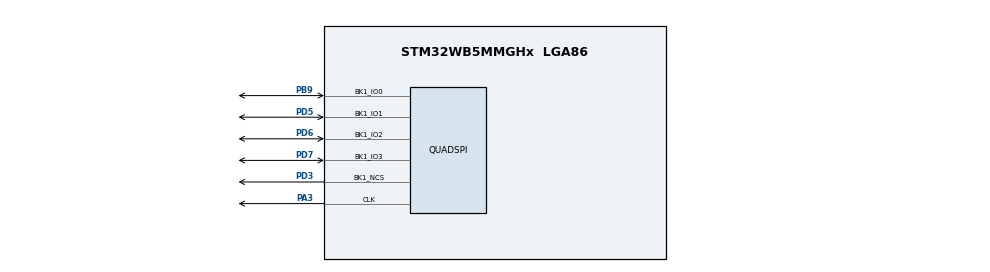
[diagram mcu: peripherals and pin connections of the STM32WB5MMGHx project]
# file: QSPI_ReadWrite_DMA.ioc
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Dma.QUADSPI.0.Direction=DMA_PERIPH_TO_MEMORY
Dma.QUADSPI.0.EventEnable=DISABLE
Dma.QUADSPI.0.Instance=DMA1_Channel1
Dma.QUADSPI.0.MemDataAlignment=DMA_MDATAALIGN_BYTE
Dma.QUADSPI.0.MemInc=DMA_MINC_ENABLE
Dma.QUADSPI.0.Mode=DMA_NORMAL
Dma.QUADSPI.0.PeriphDataAlignment=DMA_PDATAALIGN_BYTE
Dma.QUADSPI.0.PeriphInc=DMA_PINC_DISABLE
Dma.QUADSPI.0.Polarity=HAL_DMAMUX_REQ_GEN_RISING
Dma.QUADSPI.0.Priority=DMA_PRIORITY_LOW
Dma.QUADSPI.0.RequestNumber=1
Dma.QUADSPI.0.SignalID=NONE
Dma.QUADSPI.0.SyncEnable=DISABLE
Dma.QUADSPI.0.SyncPolarity=HAL_DMAMUX_SYNC_NO_EVENT
Dma.QUADSPI.0.SyncRequestNumber=1
Dma.QUADSPI.0.SyncSignalID=NONE
Dma.Request0=QUADSPI
Mcu.Family=STM32WB
Mcu.Name=STM32WB5MMGHx
Mcu.Package=LGA86
NVIC.DMA1_Channel1_IRQn=true\:0\:0\:false\:false\:true\:false\:true
NVIC.PriorityGroup=NVIC_PRIORITYGROUP_4
NVIC.QUADSPI_IRQn=true\:0\:0\:false\:false\:true\:true\:true
PA3.GPIO_Speed=GPIO_SPEED_FREQ_HIGH
PA3.Mode=Single Bank 1
PA3.Signal=QUADSPI_CLK
PB9.GPIO_Speed=GPIO_SPEED_FREQ_HIGH
PB9.Mode=Single Bank 1
PB9.Signal=QUADSPI_BK1_IO0
PD3.GPIO_Speed=GPIO_SPEED_FREQ_HIGH
PD3.Mode=Single Bank 1
PD3.Signal=QUADSPI_BK1_NCS
PD5.GPIO_Speed=GPIO_SPEED_FREQ_HIGH
PD5.Mode=Single Bank 1
PD5.Signal=QUADSPI_BK1_IO1
PD6.GPIO_Speed=GPIO_SPEED_FREQ_HIGH
PD6.Mode=Single Bank 1
PD6.Signal=QUADSPI_BK1_IO2
PD7.GPIO_Speed=GPIO_SPEED_FREQ_HIGH
PD7.Mode=Single Bank 1
PD7.Signal=QUADSPI_BK1_IO3
ProjectManager.HeapSize=0x200
ProjectManager.StackSize=0x400
ProjectManager.TargetToolchain=EWARM V8
QUADSPI.ClockPrescaler=2
QUADSPI.FifoThreshold=4
QUADSPI.FlashSize=23
RCC.AHB2CLKDivider=RCC_SYSCLK_DIV2
RCC.AHBFreq_Value=64000000
RCC.APB1Freq_Value=64000000
RCC.APB1TimFreq_Value=64000000
RCC.APB2Freq_Value=64000000
RCC.APB2TimFreq_Value=64000000
RCC.APB3Freq_Value=16000000
RCC.Cortex2_Div=SYSTICK_CLKSOURCE_HCLK_DIV8
RCC.CortexFreq_Value=64000000
RCC.HCLKFreq_Value=64000000
RCC.HSE_VALUE=32000000
RCC.HSI48_VALUE=48000000
RCC.HSI_VALUE=16000000
RCC.PLLN=32
RCC.SYSCLKFreq_VALUE=64000000
RCC.SYSCLKSource=RCC_SYSCLKSOURCE_PLLCLK
RCC.VCOOutputFreq_Value=128000000
board=custom

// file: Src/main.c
/* USER CODE BEGIN Header */
/**
  ******************************************************************************
  * @file    QSPI/QSPI_ReadWrite_DMA/Src/main.c
  * @author  MCD Application Team
  * @brief   This sample code shows how to erase part of the QSPI memory, write
  *          data in DMA mode, read data in DMA mode and compare the result in
  *          a forever loop.
  ******************************************************************************
  * @attention
  *
  * <h2><center>&copy; Copyright (c) 2020 STMicroelectronics.
  * All rights reserved.</center></h2>
  *
  * This software component is licensed by ST under BSD 3-Clause license,
  * the "License"; You may not use this file except in compliance with the
  * License. You may obtain a copy of the License at:
  *                        opensource.org/licenses/BSD-3-Clause
  *
  ******************************************************************************
  */
/* USER CODE END Header */
#include "main.h"

QSPI_HandleTypeDef hqspi;
DMA_HandleTypeDef hdma_quadspi;

/* USER CODE BEGIN PV */
aPwmLedGsData_TypeDef aPwmLedGsData;

__IO uint8_t CmdCplt, RxCplt, TxCplt, StatusMatch;

/* Buffer used for transmission */
uint8_t aTxBuffer[] = " ****QSPI communication based on DMA****  ****QSPI communication based on DMA****  ****QSPI communication based on DMA****  ****QSPI communication based on DMA****  ****QSPI communication based on DMA****  ****QSPI communication based on DMA**** ";

/* Buffer used for reception */
uint8_t aRxBuffer[BUFFERSIZE];
/* USER CODE END PV */

void SystemClock_Config(void);
static void MX_GPIO_Init(void);
static void MX_DMA_Init(void);
static void MX_QUADSPI_Init(void);
/* USER CODE BEGIN PFP */
static void QSPI_WriteEnable(QSPI_HandleTypeDef *hqspi);
static void QSPI_AutoPollingMemReady(QSPI_HandleTypeDef *hqspi);
/* USER CODE END PFP */

int main(void)
{
  /* USER CODE BEGIN 1 */
  QSPI_CommandTypeDef sCommand;
  uint32_t address = 0;
  uint16_t index;
  __IO uint8_t step = 0;

  /* STM32WBxx HAL library initialization:
       - Configure the Flash prefetch
       - Systick timer is configured by default as source of time base, but user
         can eventually implement his proper time base source (a general purpose
         timer for example or other time source), keeping in mind that Time base
         duration should be kept 1ms since PPP_TIMEOUT_VALUEs are defined and
         handled in milliseconds basis.
       - Set NVIC Group Priority to 4
       - Low Level Initialization
  */
  /* USER CODE END 1 */

  /* MCU Configuration--------------------------------------------------------*/

  /* Reset of all peripherals, Initializes the Flash interface and the Systick. */
  HAL_Init();

  /* Configure the system clock */
  SystemClock_Config();

  /* USER CODE BEGIN SysInit */
  /* Set default off value for each leds */
  aPwmLedGsData[PWM_LED_RED]   = PWM_LED_GSDATA_OFF;
  aPwmLedGsData[PWM_LED_GREEN] = PWM_LED_GSDATA_OFF;
  aPwmLedGsData[PWM_LED_BLUE]  = PWM_LED_GSDATA_OFF;
  BSP_PWM_LED_Init();
  /* USER CODE END SysInit */

  /* Initialize all configured peripherals */
  MX_GPIO_Init();
  MX_DMA_Init();
  MX_QUADSPI_Init();

  /* Infinite loop */
  /* USER CODE BEGIN WHILE */
  sCommand.InstructionMode   = QSPI_INSTRUCTION_1_LINE;
  sCommand.AddressSize       = QSPI_ADDRESS_24_BITS;
  sCommand.AlternateByteMode = QSPI_ALTERNATE_BYTES_NONE;
  sCommand.DdrMode           = QSPI_DDR_MODE_DISABLE;
  sCommand.SIOOMode          = QSPI_SIOO_INST_EVERY_CMD;

  while (1)
  {
    switch(step)
    {
      case 0:
        CmdCplt = 0;

        /* Initialize Reception buffer --------------------------------------- */
        for (index = 0; index < BUFFERSIZE; index++)
        {
          aRxBuffer[index] = 0;
        }

        /* Enable write operations ------------------------------------------- */
        QSPI_WriteEnable(&hqspi);

        /* Erasing Sequence -------------------------------------------------- */
        sCommand.Instruction = SECTOR_ERASE_CMD;
        sCommand.AddressMode = QSPI_ADDRESS_1_LINE;
        sCommand.Address     = address;
        sCommand.DataMode    = QSPI_DATA_NONE;
        sCommand.DummyCycles = 0;

        if (HAL_QSPI_Command_IT(&hqspi, &sCommand) != HAL_OK)
        {
          Error_Handler();
        }

        step++;
        break;

      case 1:
        if(CmdCplt != 0)
        {
          CmdCplt = 0;
          StatusMatch = 0;

          /* Configure automatic polling mode to wait for end of erase ------- */
          QSPI_AutoPollingMemReady(&hqspi);

          step++;
        }
        break;

      case 2:
        if(StatusMatch != 0)
        {
          StatusMatch = 0;
          TxCplt = 0;

          /* Enable write operations ----------------------------------------- */
          QSPI_WriteEnable(&hqspi);

          /* Writing Sequence ------------------------------------------------ */
          sCommand.Instruction = QUAD_IN_FAST_PROG_CMD;
          sCommand.AddressMode = QSPI_ADDRESS_1_LINE;
          sCommand.DataMode    = QSPI_DATA_4_LINES;
          sCommand.NbData      = BUFFERSIZE;

          if (HAL_QSPI_Command(&hqspi, &sCommand, HAL_QSPI_TIMEOUT_DEFAULT_VALUE) != HAL_OK)
          {
            Error_Handler();
          }

          if (HAL_QSPI_Transmit_DMA(&hqspi, aTxBuffer) != HAL_OK)
          {
            Error_Handler();
          }

          step++;
        }
        break;

      case 3:
        if(TxCplt != 0)
        {
          TxCplt = 0;
          StatusMatch = 0;

          /* Configure automatic polling mode to wait for end of program ----- */
          QSPI_AutoPollingMemReady(&hqspi);

          step++;
        }
        break;

      case 4:
        if(StatusMatch != 0)
        {
          StatusMatch = 0;
          RxCplt = 0;

          /* Reading Sequence ------------------------------------------------ */
          sCommand.Instruction = QUAD_OUT_FAST_READ_CMD;
          sCommand.DummyCycles = DUMMY_CLOCK_CYCLES_READ;

          if (HAL_QSPI_Command(&hqspi, &sCommand, HAL_QSPI_TIMEOUT_DEFAULT_VALUE) != HAL_OK)
          {
            Error_Handler();
          }

          if (HAL_QSPI_Receive_DMA(&hqspi, aRxBuffer) != HAL_OK)
          {
            Error_Handler();
          }
          step++;
        }
        break;

      case 5:
        if (RxCplt != 0)
        {
          RxCplt = 0;

          /* Result comparison ----------------------------------------------- */
          for (index = 0; index < BUFFERSIZE; index++)
          {
            if (aRxBuffer[index] != aTxBuffer[index])
            {
              aPwmLedGsData[PWM_LED_RED] = PWM_LED_GSDATA_7_0;
              BSP_PWM_LED_On(aPwmLedGsData);
            }
          }
          aPwmLedGsData[PWM_LED_GREEN] = PWM_LED_GSDATA_7_0;
          BSP_PWM_LED_Toggle(aPwmLedGsData);

          address += QSPI_PAGE_SIZE;
          if(address >= QSPI_END_ADDR)
          {
            address = 0;
          }
          step = 0;
        }
        break;

      default :
        Error_Handler();
    }
    /* USER CODE END WHILE */

  }
}

void SystemClock_Config(void)
{
  RCC_OscInitTypeDef RCC_OscInitStruct = {0};
  RCC_ClkInitTypeDef RCC_ClkInitStruct = {0};
  RCC_PeriphCLKInitTypeDef PeriphClkInitStruct = {0};

  /** Configure the main internal regulator output voltage
  */
  __HAL_PWR_VOLTAGESCALING_CONFIG(PWR_REGULATOR_VOLTAGE_SCALE1);
  /** Initializes the RCC Oscillators according to the specified parameters
  * in the RCC_OscInitTypeDef structure.
  */
  RCC_OscInitStruct.OscillatorType = RCC_OSCILLATORTYPE_HSI|RCC_OSCILLATORTYPE_MSI;
  RCC_OscInitStruct.HSIState = RCC_HSI_ON;
  RCC_OscInitStruct.MSIState = RCC_MSI_ON;
  RCC_OscInitStruct.HSICalibrationValue = RCC_HSICALIBRATION_DEFAULT;
  RCC_OscInitStruct.MSICalibrationValue = RCC_MSICALIBRATION_DEFAULT;
  RCC_OscInitStruct.MSIClockRange = RCC_MSIRANGE_6;
  RCC_OscInitStruct.PLL.PLLState = RCC_PLL_ON;
  RCC_OscInitStruct.PLL.PLLSource = RCC_PLLSOURCE_MSI;
  RCC_OscInitStruct.PLL.PLLM = RCC_PLLM_DIV1;
  RCC_OscInitStruct.PLL.PLLN = 32;
  RCC_OscInitStruct.PLL.PLLP = RCC_PLLP_DIV2;
  RCC_OscInitStruct.PLL.PLLR = RCC_PLLR_DIV2;
  RCC_OscInitStruct.PLL.PLLQ = RCC_PLLQ_DIV2;
  if (HAL_RCC_OscConfig(&RCC_OscInitStruct) != HAL_OK)
  {
    Error_Handler();
  }
  /** Configure the SYSCLKSource, HCLK, PCLK1 and PCLK2 clocks dividers
  */
  RCC_ClkInitStruct.ClockType = RCC_CLOCKTYPE_HCLK4|RCC_CLOCKTYPE_HCLK2
                              |RCC_CLOCKTYPE_HCLK|RCC_CLOCKTYPE_SYSCLK
                              |RCC_CLOCKTYPE_PCLK1|RCC_CLOCKTYPE_PCLK2;
  RCC_ClkInitStruct.SYSCLKSource = RCC_SYSCLKSOURCE_PLLCLK;
  RCC_ClkInitStruct.AHBCLKDivider = RCC_SYSCLK_DIV1;
  RCC_ClkInitStruct.APB1CLKDivider = RCC_HCLK_DIV1;
  RCC_ClkInitStruct.APB2CLKDivider = RCC_HCLK_DIV1;
  RCC_ClkInitStruct.AHBCLK2Divider = RCC_SYSCLK_DIV2;
  RCC_ClkInitStruct.AHBCLK4Divider = RCC_SYSCLK_DIV1;

  if (HAL_RCC_ClockConfig(&RCC_ClkInitStruct, FLASH_LATENCY_3) != HAL_OK)
  {
    Error_Handler();
  }
  /** Initializes the peripherals clocks
  */
  PeriphClkInitStruct.PeriphClockSelection = RCC_PERIPHCLK_SMPS;
  PeriphClkInitStruct.SmpsClockSelection = RCC_SMPSCLKSOURCE_HSI;
  PeriphClkInitStruct.SmpsDivSelection = RCC_SMPSCLKDIV_RANGE1;
  if (HAL_RCCEx_PeriphCLKConfig(&PeriphClkInitStruct) != HAL_OK)
  {
    Error_Handler();
  }
}

static void MX_QUADSPI_Init(void)
{

  /* QUADSPI parameter configuration*/
  hqspi.Instance = QUADSPI;
  hqspi.Init.ClockPrescaler = 2;
  hqspi.Init.FifoThreshold = 4;
  hqspi.Init.SampleShifting = QSPI_SAMPLE_SHIFTING_NONE;
  hqspi.Init.FlashSize = 23;
  hqspi.Init.ChipSelectHighTime = QSPI_CS_HIGH_TIME_1_CYCLE;
  hqspi.Init.ClockMode = QSPI_CLOCK_MODE_0;
  if (HAL_QSPI_Init(&hqspi) != HAL_OK)
  {
    Error_Handler();
  }

}

static void MX_DMA_Init(void)
{

  /* DMA controller clock enable */
  __HAL_RCC_DMAMUX1_CLK_ENABLE();
  __HAL_RCC_DMA1_CLK_ENABLE();

  /* DMA interrupt init */
  /* DMA1_Channel1_IRQn interrupt configuration */
  HAL_NVIC_SetPriority(DMA1_Channel1_IRQn, 0, 0);
  HAL_NVIC_EnableIRQ(DMA1_Channel1_IRQn);

}

static void MX_GPIO_Init(void)
{

  /* GPIO Ports Clock Enable */
  __HAL_RCC_GPIOB_CLK_ENABLE();
  __HAL_RCC_GPIOA_CLK_ENABLE();
  __HAL_RCC_GPIOD_CLK_ENABLE();

}

/* USER CODE BEGIN 4 */
/**
  * @brief  Command completed callbacks.
  * @param  hqspi QSPI handle
  * @retval None
  */
void HAL_QSPI_CmdCpltCallback(QSPI_HandleTypeDef *hqspi)
{
  CmdCplt++;
}

/**
  * @brief  Rx Transfer completed callbacks.
  * @param  hqspi QSPI handle
  * @retval None
  */
void HAL_QSPI_RxCpltCallback(QSPI_HandleTypeDef *hqspi)
{
  RxCplt++;
}

/**
  * @brief  Tx Transfer completed callbacks.
  * @param  hqspi QSPI handle
  * @retval None
  */
void HAL_QSPI_TxCpltCallback(QSPI_HandleTypeDef *hqspi)
{
  TxCplt++;
}

/**
  * @brief  Status Match callbacks
  * @param  hqspi QSPI handle
  * @retval None
  */
void HAL_QSPI_StatusMatchCallback(QSPI_HandleTypeDef *hqspi)
{
  StatusMatch++;
}

/**
  * @brief  This function send a Write Enable and wait it is effective.
  * @param  hqspi QSPI handle
  * @retval None
  */
static void QSPI_WriteEnable(QSPI_HandleTypeDef *hqspi)
{
  QSPI_CommandTypeDef     sCommand;
  QSPI_AutoPollingTypeDef sConfig;

  /* Enable write operations ------------------------------------------ */
  sCommand.InstructionMode   = QSPI_INSTRUCTION_1_LINE;
  sCommand.Instruction       = WRITE_ENABLE_CMD;
  sCommand.AddressMode       = QSPI_ADDRESS_NONE;
  sCommand.AlternateByteMode = QSPI_ALTERNATE_BYTES_NONE;
  sCommand.DataMode          = QSPI_DATA_NONE;
  sCommand.DummyCycles       = 0;
  sCommand.DdrMode           = QSPI_DDR_MODE_DISABLE;
  sCommand.SIOOMode          = QSPI_SIOO_INST_EVERY_CMD;

  if (HAL_QSPI_Command(hqspi, &sCommand, HAL_QSPI_TIMEOUT_DEFAULT_VALUE) != HAL_OK)
  {
    Error_Handler();
  }

  /* Configure automatic polling mode to wait for write enabling ---- */
  sConfig.Match           = 0x02;
  sConfig.Mask            = 0x02;
  sConfig.MatchMode       = QSPI_MATCH_MODE_AND;
  sConfig.StatusBytesSize = 1;
  sConfig.Interval        = 0x10;
  sConfig.AutomaticStop   = QSPI_AUTOMATIC_STOP_ENABLE;

  sCommand.Instruction    = READ_STATUS_REG_CMD;
  sCommand.DataMode       = QSPI_DATA_1_LINE;

  if (HAL_QSPI_AutoPolling(hqspi, &sCommand, &sConfig, HAL_QSPI_TIMEOUT_DEFAULT_VALUE) != HAL_OK)
  {
    Error_Handler();
  }
}

/**
  * @brief  This function read the SR of the memory and wait the EOP.
  * @param  hqspi QSPI handle
  * @retval None
  */
static void QSPI_AutoPollingMemReady(QSPI_HandleTypeDef *hqspi)
{
  QSPI_CommandTypeDef     sCommand;
  QSPI_AutoPollingTypeDef sConfig;

  /* Configure automatic polling mode to wait for memory ready ------ */
  sCommand.InstructionMode   = QSPI_INSTRUCTION_1_LINE;
  sCommand.Instruction       = READ_STATUS_REG_CMD;
  sCommand.AddressMode       = QSPI_ADDRESS_NONE;
  sCommand.AlternateByteMode = QSPI_ALTERNATE_BYTES_NONE;
  sCommand.DataMode          = QSPI_DATA_1_LINE;
  sCommand.DummyCycles       = 0;
  sCommand.DdrMode           = QSPI_DDR_MODE_DISABLE;
  sCommand.SIOOMode          = QSPI_SIOO_INST_EVERY_CMD;

  sConfig.Match           = MEMORY_READY_MATCH_VALUE;
  sConfig.Mask            = MEMORY_READY_MASK_VALUE;
  sConfig.MatchMode       = QSPI_MATCH_MODE_AND;
  sConfig.StatusBytesSize = 1;
  sConfig.Interval        = 0x10;
  sConfig.AutomaticStop   = QSPI_AUTOMATIC_STOP_ENABLE;

  if (HAL_QSPI_AutoPolling_IT(hqspi, &sCommand, &sConfig) != HAL_OK)
  {
    Error_Handler();
  }
}

/* USER CODE END 4 */

void Error_Handler(void)
{
  /* USER CODE BEGIN Error_Handler_Debug */
  /* User can add his own implementation to report the HAL error return state */
  while (1)
  {
    HAL_Delay(100);
    aPwmLedGsData[PWM_LED_RED] = PWM_LED_GSDATA_7_0;
    BSP_PWM_LED_Toggle(aPwmLedGsData);
  }
  /* USER CODE END Error_Handler_Debug */
}

/************************ (C) COPYRIGHT STMicroelectronics *****END OF FILE****/
